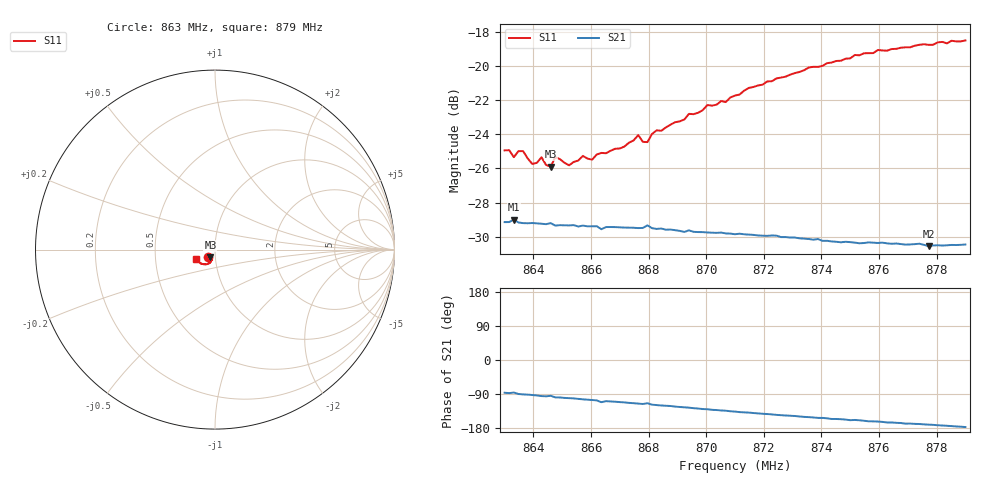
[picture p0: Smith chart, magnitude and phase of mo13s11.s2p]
# HZ S RI R 50
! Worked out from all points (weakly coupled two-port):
!   101 points, 863 MHz to 879 MHz, reference 50 ohm
!   highest |S21| = -29.00 dB at 863.32 MHz (marker M1); lowest = -30.6 dB at 877.72 MHz (marker M2)
!   lowest |S11| = -25.9 dB at 864.6 MHz (marker M3), VSWR 1.11, Z = 47.3 - j4.17 ohm
!   |S11| at or under -10 dB: start of sweep to end of sweep
!   S12 and S22 are empty: the file has one direction only
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8.63e8  -0.039 -0.0411  0.00223 -0.0348  0 0  0 0
8.6316e8  -0.0382 -0.0419  0.00155 -0.0349  0 0  0 0
8.6332e8  -0.032 -0.0437  0.00261 -0.0354  0 0  0 0
8.6364e8  -0.0365 -0.043  -0.000442 -0.0346  0 0  0 0
8.6396e8  -0.0319 -0.0407  -0.00145 -0.0346  0 0  0 0
8.6428e8  -0.0305 -0.0447  -0.00312 -0.0344  0 0  0 0
8.646e8  -0.0254 -0.0439  -0.00266 -0.0345  0 0  0 0
8.6476e8  -0.03 -0.045  -0.00513 -0.0337  0 0  0 0
8.6524e8  -0.0257 -0.0443  -0.00633 -0.0335  0 0  0 0
8.6572e8  -0.0249 -0.0486  -0.00815 -0.0331  0 0  0 0
8.6604e8  -0.0227 -0.0481  -0.00912 -0.0327  0 0  0 0
8.6716e8  -0.021 -0.0542  -0.0125 -0.0312  0 0  0 0
8.6764e8  -0.0229 -0.0585  -0.0142 -0.0304  0 0  0 0
8.6796e8  -0.0157 -0.0578  -0.014 -0.0311  0 0  0 0
8.6812e8  -0.0209 -0.0598  -0.0156 -0.0296  0 0  0 0
8.6844e8  -0.0216 -0.061  -0.0167 -0.0289  0 0  0 0
8.7004e8  -0.0276 -0.0719  -0.0209 -0.0249  0 0  0 0
8.71e8  -0.0328 -0.0752  -0.0232 -0.0223  0 0  0 0
8.7372e8  -0.0557 -0.0827  -0.0272 -0.0147  0 0  0 0
8.7644e8  -0.0851 -0.0734  -0.0291 -0.00788  0 0  0 0
8.7772e8  -0.0965 -0.0637  -0.0292 -0.00486  0 0  0 0
8.79e8  -0.107 -0.0523  -0.0299 -0.00157  0 0  0 0
